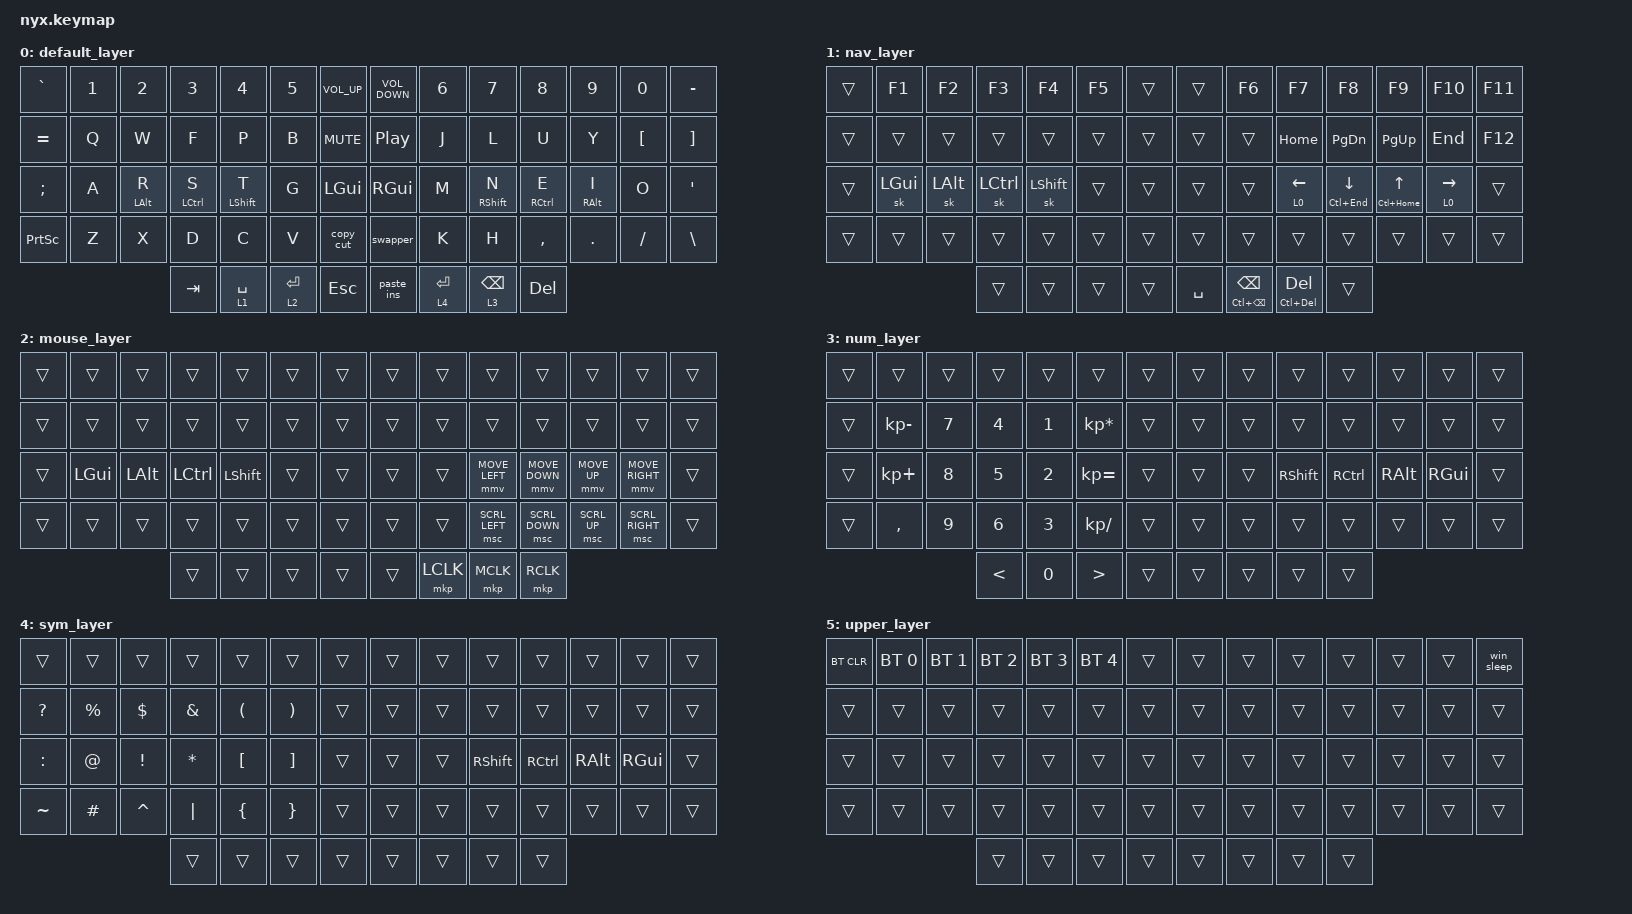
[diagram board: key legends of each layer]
#include <behaviors.dtsi>
#include <dt-bindings/zmk/bt.h>
#include <dt-bindings/zmk/keys.h>
#include "helper.h"
#include "keypos_64keys.h"

#define DEFAULT 0
#define LOWER   1
#define UPPER   2

#define ZMK_MOUSE_DEFAULT_MOVE_VAL 1500  // 600
#define ZMK_MOUSE_DEFAULT_SCRL_VAL 20    // 10

#include <dt-bindings/zmk/mouse.h>

&mmv {
  acceleration-exponent = <1>;      // 1
  time-to-max-speed-ms = <500>;    // 40
  delay-ms = <0>;                   // 0
};

&msc {
  acceleration-exponent = <1>;      // 0
  time-to-max-speed-ms = <40>;      // 500
  delay-ms = <0>;                   // 10
};

#define U_MS_U &mmv MOVE_UP
#define U_MS_D &mmv MOVE_DOWN
#define U_MS_L &mmv MOVE_LEFT
#define U_MS_R &mmv MOVE_RIGHT
#define U_WH_U &msc SCRL_UP
#define U_WH_D &msc SCRL_DOWN
#define U_WH_L &msc SCRL_LEFT
#define U_WH_R &msc SCRL_RIGHT

#define QUICK_TAP_MS 175

&sk {  // sticky-key config
    release-after-ms = <900>;  // release after 0.6s
    quick-release;             // no double capitalization when rolling keys
};

/* Homerow mods */

#define KEYS_L LN0 LN1 LN2 LN3 LN4 LN5 LN6 LT0 LT1 LT2 LT3 LT4 LT5 LT6 LM0 LM1 LM2 LM3 LM4 LM5 LM6 LB0 LB1 LB2 LB3 LB4 LB5 LB6  // left hand
#define KEYS_R RN0 RN1 RN2 RN3 RN4 RN5 RN6 RT0 RT1 RT2 RT3 RT4 RT5 RT6 RM0 RM1 RM2 RM3 RM4 RM5 RM6 RB0 RB1 RB2 RB3 RB4 RB5 RB6  // right hand
#define THUMBS LH3 LH2 LH1 LH0 RH0 RH1 RH2 RH3                                     // thumbs

#define MAKE_HRM(NAME, HOLD, TAP, TRIGGER_POS) \
    ZMK_BEHAVIOR(NAME, hold_tap, \
        flavor = "balanced"; \
        tapping-term-ms = <280>; \
        quick-tap-ms = <QUICK_TAP_MS>; \
        require-prior-idle-ms = <150>; \
        bindings = <HOLD>, <TAP>; \
        hold-trigger-key-positions = <TRIGGER_POS>; \
        hold-trigger-on-release; \
    )
MAKE_HRM(hml, &kp, &kp, KEYS_R THUMBS)  // left-hand HRMs
MAKE_HRM(hmr, &kp, &kp, KEYS_L THUMBS)  // right-hand HRMs

MAKE_HRM(hml_repeat, &kp, &key_repeat, KEYS_R THUMBS)  // used for HRM-combo

/* Nav cluster */

// long-tap action on hold, short-tap action on all interrupts
#define MT_CORE \
    flavor = "tap-preferred"; \
    tapping-term-ms = <220>; \
    quick-tap-ms = <220>; \
    hold-trigger-key-positions = <0>;

&mt { MT_CORE };
ZMK_BEHAVIOR(mt_home, hold_tap, bindings = <&masked_home>, <&kp>; MT_CORE)
ZMK_BEHAVIOR(mt_end,  hold_tap,  bindings = <&masked_end>, <&kp>; MT_CORE)

#define NAV_LEFT  &mt_home 0   LEFT    // tap: left  | long-tap: beginning of line
#define NAV_RIGHT &mt_end 0    RIGHT   // tap: right | long-tap: end       of line
#define NAV_UP    &mt LC(HOME) UP      // tap: up    | long-tap: beginning of document
#define NAV_DOWN  &mt LC(END)  DOWN    // tap: down  | long-tap: end       of document
#define NAV_BSPC  &mt LC(BSPC) BSPC    // tap: bspc  | long-tap: delete word backward
#define NAV_DEL   &mt LC(DEL)  DEL     // tap: del   | long-tap: delete word forward

// mask CTRL when holding left/right to avoid accidental jumps to beginning/end of document
#define MASK_MODS(NAME, MODS, BINDING) \
    ZMK_BEHAVIOR(NAME, mod_morph, \
        bindings = <BINDING>, <BINDING>; \
        mods = <MODS>; \
    )
MASK_MODS(masked_home, (MOD_LCTL), &kp HOME)
MASK_MODS(masked_end,  (MOD_LCTL), &kp END)


// Alt+Tab swapper, requires PR #1366
ZMK_BEHAVIOR(swapper, tri_state,
    bindings = <&kt LALT>, <&kp TAB>, <&kt LALT>;
)

// Windows sleep key
ZMK_BEHAVIOR(win_sleep, macro,
    wait-ms = <500>;
    tap-ms = <50>;
    bindings = <&kp LG(X) &kp U &kp S>;
)

// tap: copy | double-tap: cut
ZMK_BEHAVIOR(copy_cut, tap_dance,
    tapping-term-ms = <200>;
    bindings = <&kp LC(INS)>, <&kp LC(X)>;
)

// tap: paste | double-tap: INS
ZMK_BEHAVIOR(paste_ins, tap_dance,
    tapping-term-ms = <200>;
    bindings = <&kp LS(INS)>, <&kp INS>;
)

/ {
    behaviors {
        // This is mod-tap with the "balanced" flavor.
        // Improves the '&mt RCTRL SPACE' behavior when typing quickly.

        bmt: balanced_mod_tap {
            compatible = "zmk,behavior-hold-tap";
            label = "MOD_TAP";
            #binding-cells = <2>;
            flavor = "balanced";
            tapping-term-ms = <220>;
            quick-tap-ms = <125>;
            bindings = <&kp>, <&kp>;
        };
    };

    keymap {
        compatible = "zmk,keymap";

        default_layer {
            // | `       | 1    | 2    | 3      | 4       | 5       | -          | =              | 6          | 7       | 8       | 9     | 0      | -       |
            // | [       | Q    | W    | E      | R       | T       | //         | \\             | Y          | U       | I       | O     | P      | ]       |
            // | (       | A    | S    | D      | F       | G       | ESC        | TAB            | H          | J       | K       | L     | ;      | )       |
            // | LSHIFT  | Z    | X    | C      | V       | B       | DEL        | BSPC           | N          | M       | ,       | .     | '      | RSHIFT  |
            // |         |      |      | LGUI   | FN      | LCTL    | LALT       | SPC / RCTL     | RET        | RCTL    | RALT    |       |        |         |

            bindings = <
&kp GRAVE        &kp N1  &kp N2       &kp N3        &kp N4        &kp N5     &kp C_VOL_UP            &kp C_VOLUME_DOWN     &kp N6     &kp N7           &kp N8       &kp N9      &kp N0     &kp MINUS
&kp EQUAL        &kp Q   &kp W        &kp F         &kp P         &kp B      &kp C_MUTE              &kp C_PLAY_PAUSE      &kp J      &kp L            &kp U        &kp Y       &kp LBKT   &kp RBKT
&kp SEMI         &kp A   &hml LALT R  &hml LCTRL S  &hml LSHFT T  &kp G      &kp LGUI                &kp RGUI              &kp M      &hmr RSHFT N     &hmr RCTRL E &hmr RALT I &kp O      &kp APOS
&kp PRINTSCREEN  &kp Z   &kp X        &kp D         &kp C         &kp V      &copy_cut               &swapper              &kp K      &kp H            &kp COMMA    &kp DOT     &kp FSLH   &kp BACKSLASH
                                      &kp TAB       &lt 1 SPACE   &lt 2 RET  &kp ESC                 &paste_ins            &lt 4 RET  &lt 3 BACKSPACE  &kp DELETE
            >;
        };

        nav_layer {
            // |      | F1   | F2     | F3      | F4     | F5  |      |      | F6      | F7     | F8     | F9      | F10   | F11   |
            // |      |      |        | PG UP   |        |     |      |      |         |        | ↑      |         |       | F12   |
            // |      |      | HOME   | PG DOWN | END    |     |      |      |         | ←      | ↓      | →       |       |       |
            // |      |      |        |         |        |     |      |      |         |        |        |         |       |       |
            // |      |      |        |         |        |     |      |      | SPC     |        |        |         |       |       |

            bindings = <
&trans  &kp F1    &kp F2    &kp F3     &kp F4     &kp F5  &trans    &trans     &kp F6         &kp F7      &kp F8     &kp F9     &kp F10    &kp F11
&trans  &trans    &trans    &trans     &trans     &trans  &trans    &trans     &trans         &kp HOME    &kp PG_DN  &kp PG_UP  &kp END    &kp F12
&trans  &sk LGUI  &sk LALT  &sk LCTRL  &sk LSHFT  &trans  &trans    &trans     &trans         NAV_LEFT    NAV_DOWN   NAV_UP     NAV_RIGHT  &trans
&trans  &trans    &trans    &trans     &trans     &trans  &trans    &trans     &trans         &trans      &trans     &trans     &trans     &trans
                            &trans     &trans     &trans  &trans    &kp SPACE  NAV_BSPC       NAV_DEL     &trans
            >;
        };

        mouse_layer {
            bindings = <
&trans  &trans    &trans    &trans     &trans     &trans  &trans    &trans  &trans     &trans            &trans            &trans          &trans             &trans
&trans  &trans    &trans    &trans     &trans     &trans  &trans    &trans  &trans     &trans            &trans            &trans          &trans             &trans
&trans  &kp LGUI  &kp LALT  &kp LCTRL  &kp LSHFT  &trans  &trans    &trans  &trans     &mmv MOVE_LEFT    &mmv MOVE_DOWN    &mmv MOVE_UP    &mmv MOVE_RIGHT    &trans
&trans  &trans    &trans    &trans     &trans     &trans  &trans    &trans  &trans     &msc SCRL_LEFT    &msc SCRL_DOWN    &msc SCRL_UP    &msc SCRL_RIGHT    &trans
                            &trans     &trans     &trans  &trans    &trans  &mkp LCLK  &mkp MCLK         &mkp RCLK
            >;
        };

        num_layer {
            bindings = <
&trans  &trans        &trans  &trans         &trans  &trans            &trans    &trans  &trans  &trans     &trans     &trans    &trans    &trans
&trans  &kp KP_MINUS  &kp N7  &kp N4         &kp N1  &kp KP_ASTERISK   &trans    &trans  &trans  &trans     &trans     &trans    &trans    &trans
&trans  &kp KP_PLUS   &kp N8  &kp N5         &kp N2  &kp KP_EQUAL      &trans    &trans  &trans  &kp RSHFT  &kp RCTRL  &kp RALT  &kp RGUI  &trans
&trans  &kp COMMA     &kp N9  &kp N6         &kp N3  &kp KP_SLASH      &trans    &trans  &trans  &trans     &trans     &trans    &trans    &trans
                              &kp LESS_THAN  &kp N0  &kp GREATER_THAN  &trans    &trans  &trans  &trans     &trans
            >;
        };

        sym_layer {
            bindings = <
&trans        &trans       &trans       &trans         &trans                &trans                 &trans    &trans  &trans  &trans     &trans     &trans    &trans    &trans
&kp QUESTION  &kp PERCENT  &kp DOLLAR   &kp AMPERSAND  &kp LEFT_PARENTHESIS  &kp RIGHT_PARENTHESIS  &trans    &trans  &trans  &trans     &trans     &trans    &trans    &trans
&kp COLON     &kp AT    &kp EXCL        &kp ASTERISK   &kp LEFT_BRACKET      &kp RIGHT_BRACKET      &trans    &trans  &trans  &kp RSHFT  &kp RCTRL  &kp RALT  &kp RGUI  &trans
&kp TILDE     &kp HASH  &kp CARET       &kp PIPE       &kp LEFT_BRACE        &kp RIGHT_BRACE        &trans    &trans  &trans  &trans     &trans     &trans    &trans    &trans
                                        &trans         &trans                &trans                 &trans    &trans  &trans  &trans     &trans
            >;
        };

        upper_layer {
            // | BT_CLR   | BT_SEL 0   | BT_SEL 1   | BT_SEL 2   | BT_SEL 3   | BT_SEL 4   |      |      |      |      |      |      |      |      |
            // |          |            |            |            |            |            |      |      |      |      |      |      |      |      |
            // |          |            |            |            |            |            |      |      |      |      |      |      |      |      |
            // |          |            |            |            |            |            |      |      |      |      |      |      |      |      |
            // |          |            |            |            |            |            |      |      |      |      |      |      |      |      |

            bindings = <
&bt BT_CLR  &bt BT_SEL 0  &bt BT_SEL 1  &bt BT_SEL 2  &bt BT_SEL 3  &bt BT_SEL 4  &trans    &trans  &trans  &trans  &trans  &trans  &trans  &win_sleep
&trans      &trans        &trans        &trans        &trans        &trans        &trans    &trans  &trans  &trans  &trans  &trans  &trans  &trans
&trans      &trans        &trans        &trans        &trans        &trans        &trans    &trans  &trans  &trans  &trans  &trans  &trans  &trans
&trans      &trans        &trans        &trans        &trans        &trans        &trans    &trans  &trans  &trans  &trans  &trans  &trans  &trans
                                        &trans        &trans        &trans        &trans    &trans  &trans  &trans  &trans
            >;
        };
    };

    combos {
        compatible = "zmk,combos";

        combo_upperl {
            timeout-ms = <50>;
            key-positions = <56 57>;
            bindings = <&mo 5>;
        };

        combo_upperr {
            timeout-ms = <50>;
            key-positions = <62 63>;
            bindings = <&mo 5>;
        };
    };
};
